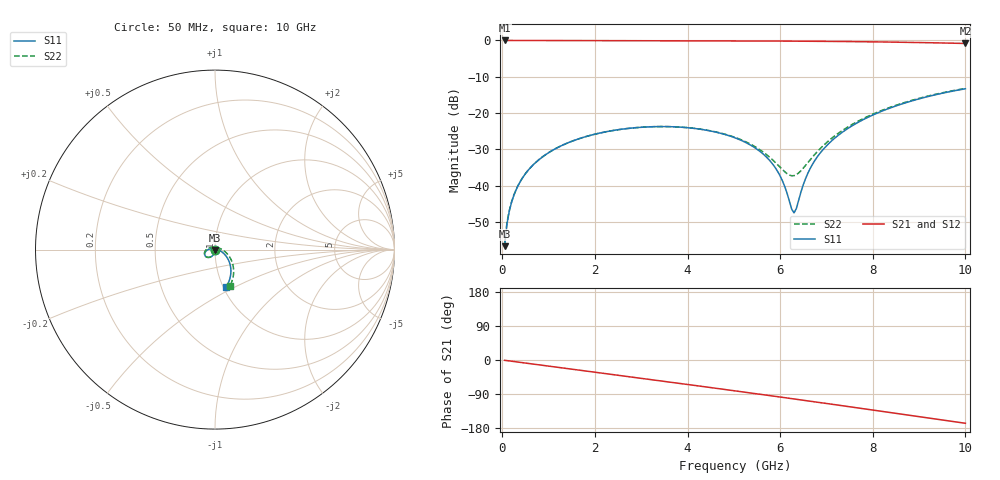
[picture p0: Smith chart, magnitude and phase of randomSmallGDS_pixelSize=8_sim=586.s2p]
! freq	dB(S11)	phase(S11)	dB(S12)	phase(S12)
!  dB(S21)	phase(S21)	dB(S22)	phase(S22)
!S-par simulation data
#  GHz  S  DB  R 50
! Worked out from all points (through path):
!   200 points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, 50 MHz to 10 GHz, reference 50 ohm
!   highest |S21| = 0.00 dB at 50 MHz (marker M1); lowest = -0.8 dB at 10 GHz (marker M2)
!   group delay of S21, straight-line fit = 46.3 ps
!   lowest |S11| = -56.7 dB at 50 MHz (marker M3), VSWR 1.00, Z = 50 - j0.144 ohm
!   |S11| at or under -10 dB: start of sweep to end of sweep
!   |S22| runs from -56.1 to -13.2 dB; largest |S21 - S12| = 0
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0.05  -56.72 -98.6  -0.00 -0.8  -0.00 -0.8  -56.09 -92.2
0.1  -50.66 -95.5  -0.00 -1.6  -0.00 -1.6  -50.32 -93.8
0.2  -44.63 -95.3  -0.00 -3.3  -0.00 -3.3  -44.52 -95.1
0.35  -39.80 -97.0  -0.00 -5.7  -0.00 -5.7  -39.76 -97.1
0.5  -36.74 -99.2  -0.01 -8.1  -0.01 -8.1  -36.72 -99.4
1  -30.94 -107.1  -0.02 -16.2  -0.02 -16.2  -30.94 -107.6
1.75  -26.71 -119.3  -0.04 -28.2  -0.04 -28.2  -26.71 -120.3
2.55  -24.52 -132.3  -0.06 -41.1  -0.06 -41.1  -24.52 -133.9
3.4  -23.74 -146.3  -0.08 -54.8  -0.08 -54.8  -23.74 -148.8
4.3  -24.52 -161.5  -0.10 -69.5  -0.10 -69.5  -24.49 -165.9
5.05  -26.96 -175.3  -0.13 -81.8  -0.13 -81.8  -26.84 176.9
5.5  -29.98 175.0  -0.15 -89.3  -0.15 -89.3  -29.62 162.2
5.85  -34.29 164.1  -0.16 -95.2  -0.16 -95.2  -33.08 142.5
6.05  -38.72 152.1  -0.17 -98.5  -0.17 -98.5  -35.61 121.7
6.25  -46.54 107.6  -0.19 -101.9  -0.19 -101.9  -37.31 86.9
6.3  -47.54 78.1  -0.19 -102.8  -0.19 -102.8  -37.27 76.5
6.55  -38.04 4.3  -0.21 -107.0  -0.21 -107.0  -34.42 34.1
6.7  -34.11 -5.5  -0.22 -109.6  -0.22 -109.6  -32.11 19.0
7  -29.06 -16.0  -0.25 -114.7  -0.25 -114.7  -28.18 1.0
7.35  -25.24 -24.4  -0.29 -120.8  -0.29 -120.8  -24.76 -11.9
8.35  -18.74 -43.9  -0.44 -138.1  -0.44 -138.1  -18.55 -36.3
10  -13.33 -73.1  -0.83 -167.0  -0.83 -167.0  -13.22 -67.7
